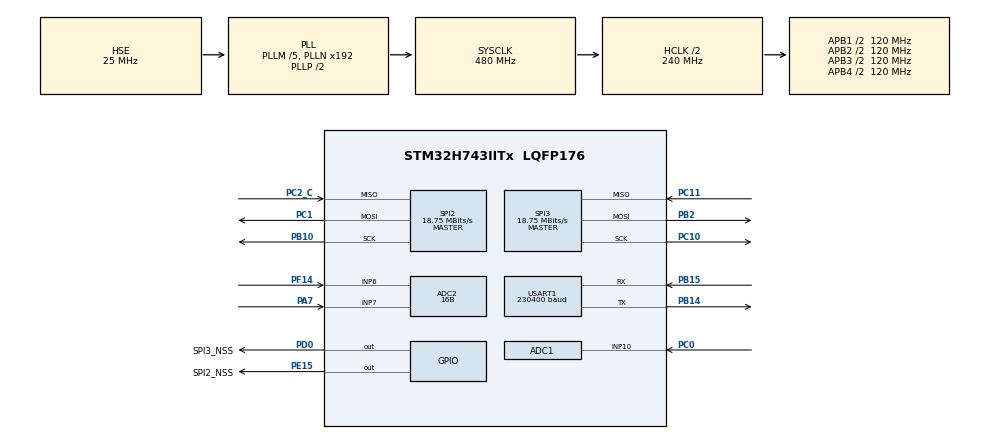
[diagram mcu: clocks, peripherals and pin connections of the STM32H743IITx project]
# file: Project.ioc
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ADC1.Channel-0\#ChannelRegularConversion=ADC_CHANNEL_10
ADC1.ClockPrescaler=ADC_CLOCK_ASYNC_DIV2
ADC1.ConversionDataManagement=ADC_CONVERSIONDATA_DMA_ONESHOT
ADC1.ExternalTrigConv=ADC_EXTERNALTRIG_T3_TRGO
ADC1.LowPowerAutoWait=DISABLE
ADC1.Mode=ADC_MODE_INDEPENDENT
ADC1.NbrOfConversion=1
ADC1.NbrOfConversionFlag=1
ADC1.OffsetNumber-0\#ChannelRegularConversion=ADC_OFFSET_NONE
ADC1.OffsetSignedSaturation-0\#ChannelRegularConversion=DISABLE
ADC1.Overrun=ADC_OVR_DATA_OVERWRITTEN
ADC1.OversamplingMode=DISABLE
ADC1.Rank-0\#ChannelRegularConversion=1
ADC1.SamplingTime-0\#ChannelRegularConversion=ADC_SAMPLETIME_8CYCLES_5
ADC1.master=1
ADC2.Channel-4\#ChannelRegularConversion=ADC_CHANNEL_6
ADC2.Channel-6\#ChannelRegularConversion=ADC_CHANNEL_7
ADC2.ClockPrescaler=ADC_CLOCK_ASYNC_DIV2
ADC2.ConversionDataManagement=ADC_CONVERSIONDATA_DMA_ONESHOT
ADC2.EOCSelection=ADC_EOC_SEQ_CONV
ADC2.ExternalTrigConv=ADC_EXTERNALTRIG_T4_TRGO
ADC2.NbrOfConversion=2
ADC2.NbrOfConversionFlag=1
ADC2.OffsetNumber-4\#ChannelRegularConversion=ADC_OFFSET_NONE
ADC2.OffsetNumber-6\#ChannelRegularConversion=ADC_OFFSET_NONE
ADC2.OffsetSignedSaturation-4\#ChannelRegularConversion=DISABLE
ADC2.OffsetSignedSaturation-6\#ChannelRegularConversion=DISABLE
ADC2.Overrun=ADC_OVR_DATA_OVERWRITTEN
ADC2.Rank-4\#ChannelRegularConversion=1
ADC2.Rank-6\#ChannelRegularConversion=2
ADC2.Resolution=ADC_RESOLUTION_16B
ADC2.SamplingTime-4\#ChannelRegularConversion=ADC_SAMPLETIME_1CYCLE_5
ADC2.SamplingTime-6\#ChannelRegularConversion=ADC_SAMPLETIME_1CYCLE_5
CORTEX_M7.default_mode_Activation=1
Dma.ADC1.0.Direction=DMA_PERIPH_TO_MEMORY
Dma.ADC1.0.EventEnable=DISABLE
Dma.ADC1.0.FIFOMode=DMA_FIFOMODE_DISABLE
Dma.ADC1.0.Instance=DMA1_Stream0
Dma.ADC1.0.MemDataAlignment=DMA_MDATAALIGN_HALFWORD
Dma.ADC1.0.MemInc=DMA_MINC_ENABLE
Dma.ADC1.0.Mode=DMA_NORMAL
Dma.ADC1.0.PeriphDataAlignment=DMA_PDATAALIGN_HALFWORD
Dma.ADC1.0.PeriphInc=DMA_PINC_DISABLE
Dma.ADC1.0.Polarity=HAL_DMAMUX_REQ_GEN_RISING
Dma.ADC1.0.Priority=DMA_PRIORITY_HIGH
Dma.ADC1.0.RequestNumber=1
Dma.ADC1.0.SignalID=NONE
Dma.ADC1.0.SyncEnable=DISABLE
Dma.ADC1.0.SyncPolarity=HAL_DMAMUX_SYNC_NO_EVENT
Dma.ADC1.0.SyncRequestNumber=1
Dma.ADC1.0.SyncSignalID=NONE
Dma.ADC2.2.Direction=DMA_PERIPH_TO_MEMORY
Dma.ADC2.2.EventEnable=DISABLE
Dma.ADC2.2.FIFOMode=DMA_FIFOMODE_DISABLE
Dma.ADC2.2.Instance=DMA1_Stream1
Dma.ADC2.2.MemDataAlignment=DMA_MDATAALIGN_HALFWORD
Dma.ADC2.2.MemInc=DMA_MINC_ENABLE
Dma.ADC2.2.Mode=DMA_NORMAL
Dma.ADC2.2.PeriphDataAlignment=DMA_PDATAALIGN_HALFWORD
Dma.ADC2.2.PeriphInc=DMA_PINC_DISABLE
Dma.ADC2.2.Polarity=HAL_DMAMUX_REQ_GEN_RISING
Dma.ADC2.2.Priority=DMA_PRIORITY_MEDIUM
Dma.ADC2.2.RequestNumber=1
Dma.ADC2.2.SignalID=NONE
Dma.ADC2.2.SyncEnable=DISABLE
Dma.ADC2.2.SyncPolarity=HAL_DMAMUX_SYNC_NO_EVENT
Dma.ADC2.2.SyncRequestNumber=1
Dma.ADC2.2.SyncSignalID=NONE
Dma.Request0=ADC1
Dma.Request1=USART1_TX
Dma.Request2=ADC2
Dma.USART1_TX.1.Direction=DMA_MEMORY_TO_PERIPH
Dma.USART1_TX.1.EventEnable=DISABLE
Dma.USART1_TX.1.FIFOMode=DMA_FIFOMODE_DISABLE
Dma.USART1_TX.1.Instance=DMA1_Stream2
Dma.USART1_TX.1.MemDataAlignment=DMA_MDATAALIGN_BYTE
Dma.USART1_TX.1.MemInc=DMA_MINC_ENABLE
Dma.USART1_TX.1.Mode=DMA_NORMAL
Dma.USART1_TX.1.PeriphDataAlignment=DMA_PDATAALIGN_BYTE
Dma.USART1_TX.1.PeriphInc=DMA_PINC_DISABLE
Dma.USART1_TX.1.Polarity=HAL_DMAMUX_REQ_GEN_RISING
Dma.USART1_TX.1.Priority=DMA_PRIORITY_MEDIUM
Dma.USART1_TX.1.RequestNumber=1
Dma.USART1_TX.1.SignalID=NONE
Dma.USART1_TX.1.SyncEnable=DISABLE
Dma.USART1_TX.1.SyncPolarity=HAL_DMAMUX_SYNC_NO_EVENT
Dma.USART1_TX.1.SyncRequestNumber=1
Dma.USART1_TX.1.SyncSignalID=NONE
Mcu.Family=STM32H7
Mcu.Name=STM32H743IITx
Mcu.Package=LQFP176
NVIC.ADC_IRQn=true\:0\:0\:false\:false\:true\:true\:true\:true
NVIC.DMA1_Stream0_IRQn=true\:0\:0\:false\:false\:true\:false\:true\:true
NVIC.DMA1_Stream1_IRQn=true\:0\:0\:false\:false\:true\:false\:true\:true
NVIC.DMA1_Stream2_IRQn=true\:0\:0\:false\:false\:true\:false\:true\:true
NVIC.PriorityGroup=NVIC_PRIORITYGROUP_4
NVIC.TIM3_IRQn=true\:0\:0\:false\:false\:true\:true\:true\:true
NVIC.TIM4_IRQn=true\:0\:0\:false\:false\:true\:true\:true\:true
NVIC.TIM5_IRQn=true\:0\:0\:false\:false\:true\:true\:true\:true
NVIC.USART1_IRQn=true\:0\:0\:false\:false\:true\:true\:true\:true
PA13\ (JTMS/SWDIO).Mode=Serial_Wire
PA13\ (JTMS/SWDIO).Signal=DEBUG_JTMS-SWDIO
PA14\ (JTCK/SWCLK).Mode=Serial_Wire
PA14\ (JTCK/SWCLK).Signal=DEBUG_JTCK-SWCLK
PA7.Signal=ADCx_INP7
PB10.Mode=Full_Duplex_Master
PB10.Signal=SPI2_SCK
PB14.Mode=Asynchronous
PB14.Signal=USART1_TX
PB15.Mode=Asynchronous
PB15.Signal=USART1_RX
PB2.Mode=Full_Duplex_Master
PB2.Signal=SPI3_MOSI
PC0.Signal=ADCx_INP10
PC1.Mode=Full_Duplex_Master
PC1.Signal=SPI2_MOSI
PC10.Mode=Full_Duplex_Master
PC10.Signal=SPI3_SCK
PC11.Mode=Full_Duplex_Master
PC11.Signal=SPI3_MISO
PC2_C.Mode=Full_Duplex_Master
PC2_C.Signal=SPI2_MISO
PD0.GPIO_Label=SPI3_NSS
PD0.Signal=GPIO_Output
PE15.GPIO_Label=SPI2_NSS
PE15.Signal=GPIO_Output
PF14.Mode=IN6-Single-Ended
PF14.Signal=ADC2_INP6
PH0-OSC_IN\ (PH0).Mode=HSE-External-Oscillator
PH0-OSC_IN\ (PH0).Signal=RCC_OSC_IN
PH1-OSC_OUT\ (PH1).Mode=HSE-External-Oscillator
PH1-OSC_OUT\ (PH1).Signal=RCC_OSC_OUT
ProjectManager.HeapSize=0x200
ProjectManager.StackSize=0x400
ProjectManager.TargetToolchain=MDK-ARM V5.32
RCC.ADCFreq_Value=75000000
RCC.APB1Freq_Value=120000000
RCC.APB2Freq_Value=120000000
RCC.APB3Freq_Value=120000000
RCC.APB4Freq_Value=120000000
RCC.CortexFreq_Value=480000000
RCC.D1PPRE=RCC_APB3_DIV2
RCC.D2PPRE1=RCC_APB1_DIV2
RCC.D2PPRE2=RCC_APB2_DIV2
RCC.D3PPRE=RCC_APB4_DIV2
RCC.DIVM1=5
RCC.DIVM2=2
RCC.DIVN1=192
RCC.DIVN2=12
RCC.HCLKFreq_Value=240000000
RCC.HPRE=RCC_HCLK_DIV2
RCC.PLL2FRACN=0
RCC.PLL3FRACN=0
RCC.PLLFRACN=0
RCC.PLLSourceVirtual=RCC_PLLSOURCE_HSE
RCC.SPI123CLockSelection=RCC_SPI123CLKSOURCE_PLL2
RCC.SYSCLKFreq_VALUE=480000000
RCC.SYSCLKSource=RCC_SYSCLKSOURCE_PLLCLK
RCC.USBFreq_Value=480000000
SH.ADCx_INP10.0=ADC1_INP10,IN10-Single-Ended
SH.ADCx_INP7.0=ADC2_INP7,IN7-Single-Ended
SPI2.BaudRatePrescaler=SPI_BAUDRATEPRESCALER_4
SPI2.CLKPolarity=SPI_POLARITY_HIGH
SPI2.CalculateBaudRate=18.75 MBits/s
SPI2.DataSize=SPI_DATASIZE_8BIT
SPI2.Direction=SPI_DIRECTION_2LINES
SPI2.Mode=SPI_MODE_MASTER
SPI2.VirtualType=VM_MASTER
SPI3.BaudRatePrescaler=SPI_BAUDRATEPRESCALER_4
SPI3.CLKPolarity=SPI_POLARITY_HIGH
SPI3.CalculateBaudRate=18.75 MBits/s
SPI3.DataSize=SPI_DATASIZE_8BIT
SPI3.Direction=SPI_DIRECTION_2LINES
SPI3.Mode=SPI_MODE_MASTER
SPI3.VirtualType=VM_MASTER
STMicroelectronics.X-CUBE-ALGOBUILD.1.4.0.LibraryCcDSPOoLibraryJjDSPOoLibrary=true
TIM3.AutoReloadPreload=TIM_AUTORELOAD_PRELOAD_ENABLE
TIM3.Period=234-1
TIM3.TIM_MasterOutputTrigger=TIM_TRGO_UPDATE
TIM4.AutoReloadPreload=TIM_AUTORELOAD_PRELOAD_ENABLE
TIM4.Period=468-1
TIM4.TIM_MasterOutputTrigger=TIM_TRGO_UPDATE
TIM5.AutoReloadPreload=TIM_AUTORELOAD_PRELOAD_ENABLE
TIM5.Period=10000-1
TIM5.Prescaler=120-1
USART1.BaudRate=230400
USART1.VirtualMode-Asynchronous=VM_ASYNC
VP_MEMORYMAP_VS_MEMORYMAP.Mode=CurAppReg
VP_STMicroelectronics.X-CUBE-ALGOBUILD_VS_DSPOoLibraryJjLibrary_1.4.0_1.4.0.Mode=DSPOoLibraryJjLibrary
VP_TIM3_VS_ClockSourceINT.Mode=Internal
VP_TIM4_VS_ClockSourceINT.Mode=Internal
VP_TIM5_VS_ClockSourceINT.Mode=Internal
board=custom

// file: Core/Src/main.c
/* USER CODE BEGIN Header */
/**
  ******************************************************************************
  * @file           : main.c
  * @brief          : Main program body
  ******************************************************************************
  * @attention
  *
  * Copyright (c) 2026 STMicroelectronics.
  * All rights reserved.
  *
  * This software is licensed under terms that can be found in the LICENSE file
  * in the root directory of this software component.
  * If no LICENSE file comes with this software, it is provided AS-IS.
  *
  ******************************************************************************
  */
/* USER CODE END Header */
#include "main.h"
#include "adc.h"
#include "dma.h"
#include "spi.h"
#include "tim.h"
#include "usart.h"
#include "gpio.h"

/* USER CODE BEGIN Includes */
#include "stdio.h"
#include "arm_math.h"
#include "math.h"
#include "AD9833.h"
#include "My_Math.h"
#include "PID.h"

/* USER CODE END Includes */

/* USER CODE BEGIN PD */
#define	Sample_Size	1024
/* USER CODE END PD */

/* USER CODE BEGIN PM */
arm_cfft_instance_f32 cfft_handler;
arm_cfft_instance_f32 cfft_handler_512;

/* USER CODE END PM */

/* USER CODE BEGIN PV */
volatile uint8_t adc_done = 0;	//ADC转换完成标志位
volatile uint8_t adc3_done = 0;

uint16_t Count;		//测试变量
uint8_t Error;

/*
	各频率分量结构体
*/
SignalPara_t FirstSignal = {0};		//最大频率信号结构体
SignalPara_t First3rdSiganl = {0};	//最大频率3次谐波结构体
SignalPara_t First5thSiganl = {0};	////最大频率5次谐波结构体
SignalRatio_t FirstRatio = {0};

SignalPara_t SecondSignal = {0};		//次最大频率信号对应结构体
SignalPara_t Second3rdSiganl = {0};	////次最大频率3次谐波结构体
SignalPara_t Second5thSiganl = {0};	////次最大频率5次谐波结构体
SignalRatio_t SecondRatio = {0};

SignalPara_t Feedback_First = {0};
SignalPara_t Feedback_Second = {0};

float Phase_Diff = 0.0f;

PID_t Phase_PID = {
	.Kp = 0.004,
	.Ki = 0,
	.Kd = 0,

	.OutMax = 50,
	.OutMin = -50,
};

uint16_t FFT_Buff[Sample_Size] = {0};		//ADC采样原始数据
float FFT_IN[Sample_Size * 2] = {0};
float FFT_Complex[Sample_Size * 2] = {0};	//备份FFT后的复数数组，用于计算相位
float FFT_OUT[Sample_Size / 2] = {0};

uint16_t FeedbackBuff_First[Sample_Size] = {0};
uint16_t FeedbackBuff_Second[Sample_Size] = {0};

uint16_t Feedback_MixBuff[Sample_Size] = {0};
float Feedback_FFTINFirst[Sample_Size] = {0};
float Feedback_FFTOUTFirst[Sample_Size / 4] = {0};
float Feedback_FFTINSecond[Sample_Size] = {0};
float Feedback_FFTOUTSecond[Sample_Size / 4] = {0};

float LastRatio_First3rdval = 0.0f;
float LastRatio_First5thval = 0.0f;
float LastRatio_Second3rdval = 0.0f;
float LastRatio_Second5thval = 0.0f;

float PhaseDiff = 0.0f;

float Beta = 0.99f;

float last_valphase =0.0f;
/* USER CODE END PV */

void SystemClock_Config(void);
void PeriphCommonClock_Config(void);
static void MPU_Config(void);

int main(void)
{

  /* MPU Configuration--------------------------------------------------------*/
  MPU_Config();

  /* MCU Configuration--------------------------------------------------------*/

  /* Reset of all peripherals, Initializes the Flash interface and the Systick. */
  HAL_Init();

  /* Configure the system clock */
  SystemClock_Config();

  /* Configure the peripherals common clocks */
  PeriphCommonClock_Config();

  /* Initialize all configured peripherals */
  MX_GPIO_Init();
  MX_DMA_Init();
  MX_ADC1_Init();
  MX_TIM3_Init();
  MX_USART1_UART_Init();
  MX_SPI2_Init();
  MX_TIM4_Init();
  MX_SPI3_Init();
  MX_ADC2_Init();
  MX_TIM5_Init();
  /* USER CODE BEGIN 2 */
  arm_cfft_init_f32(&cfft_handler, Sample_Size);
  arm_cfft_init_f32(&cfft_handler_512, Sample_Size / 2);

  AD98331_Init();
  AD98332_Init();

  PID_Init(&Phase_PID);

  /* USER CODE END 2 */

  /* Infinite loop */
  /* USER CODE BEGIN WHILE */
  HAL_TIM_Base_Start(&htim3);
  HAL_ADC_Start_DMA(&hadc1, (uint32_t *)FFT_Buff, Sample_Size);
//  HAL_TIM_Base_Start(&htim4);
//  HAL_ADC_Start_DMA(&hadc2, (uint32_t *)Feedback_MixBuff, Sample_Size);

//  AD98331_SetFrequencyQuick(1000, Sine);
//  AD98332_SetFrequencyQuick(10000, Sine);

  while (1)
  {

	  if (adc_done == 1)
	  {
		  HAL_TIM_Base_Stop(&htim3);
		  HAL_ADC_Stop_DMA(&hadc1);
		  adc_done = 0;

		  Math_FFT(FFT_Buff, FFT_IN, FFT_OUT, FFT_Complex, Sample_Size);

		  Math_FindMaxAndSecondMaxFreqAndAmp(FFT_OUT, &FirstSignal, &SecondSignal, Sample_Size);

		  First3rdSiganl = Math_Get3rdHarmonicPara(FFT_OUT, &FirstSignal, Sample_Size);
		  First5thSiganl = Math_Get5thHarmonicPara(FFT_OUT, &FirstSignal, Sample_Size);
		  Second3rdSiganl = Math_Get3rdHarmonicPara(FFT_OUT, &SecondSignal, Sample_Size);
		  Second5thSiganl = Math_Get5thHarmonicPara(FFT_OUT, &SecondSignal, Sample_Size);

		  FirstRatio = Math_CaculateRatio(&FirstSignal, &First3rdSiganl, &First5thSiganl);
		  SecondRatio = Math_CaculateRatio(&SecondSignal, &Second3rdSiganl, &Second5thSiganl);

		  FirstRatio.Ratio3rd = Math_LowPassFilter(LastRatio_First3rdval, FirstRatio.Ratio3rd);
		  FirstRatio.Ratio5th = Math_LowPassFilter(LastRatio_First5thval, FirstRatio.Ratio5th);
		  SecondRatio.Ratio3rd = Math_LowPassFilter(LastRatio_Second3rdval, SecondRatio.Ratio3rd);
		  SecondRatio.Ratio5th = Math_LowPassFilter(LastRatio_Second5thval, SecondRatio.Ratio5th);

		  LastRatio_First3rdval= FirstRatio.Ratio3rd;
		  LastRatio_First5thval = FirstRatio.Ratio5th;
		  LastRatio_Second3rdval = SecondRatio.Ratio3rd;
		  LastRatio_Second5thval = SecondRatio.Ratio5th;

		  SecondSignal.WaveType = Math_WaveformJudegeSecond(&FirstSignal, &FirstRatio, &SecondSignal, &SecondRatio);
		  FirstSignal.WaveType = Math_Math_WaveformJudegeFirst(&FirstRatio);

		  AD98331_SetFrequencyQuick(FirstSignal.Freq, FirstSignal.WaveType);
		  AD98332_SetFrequencyQuick(SecondSignal.Freq, SecondSignal.WaveType);

//		  HAL_TIM_Base_Start(&htim3);
//		  HAL_ADC_Start_DMA(&hadc1, (uint32_t *)FFT_Buff, Sample_Size);
		  HAL_TIM_Base_Start(&htim4);
		  HAL_ADC_Start_DMA(&hadc2, (uint32_t *)Feedback_MixBuff, Sample_Size);

	  }
	  if (adc3_done == 1)
	  {
		  adc3_done = 0;
		  HAL_TIM_Base_Stop(&htim4);
		  HAL_ADC_Stop_DMA(&hadc2);

		  Math_Feedback_SeparateChannel(Feedback_MixBuff,
		  							  Feedback_FFTINFirst,
		  							  Feedback_FFTINSecond,
		  							  Sample_Size);

		  Math_Feedback_FFTAndExtractPhase(&Feedback_First,
		  								 Feedback_FFTINFirst,
		  								 Feedback_FFTOUTFirst,
		  								 Sample_Size);

		  Math_Feedback_FFTAndExtractPhase(&Feedback_Second,
		  								 Feedback_FFTINSecond,
		  								 Feedback_FFTOUTSecond,
		  								 Sample_Size);

		  Phase_Diff = Feedback_First.Phase - Feedback_Second.Phase;

		  if (Phase_Diff >  180.0f) Phase_Diff -= 360.0f;
		  if (Phase_Diff < -180.0f) Phase_Diff += 360.0f;

		  Phase_PID.Actual = Phase_Diff;
		  PID_Update(&Phase_PID);
		  AD98331_SetFrequencyQuick(FirstSignal.Freq - Phase_PID.Out, FirstSignal.WaveType);

		  HAL_TIM_Base_Start(&htim4);
		  HAL_ADC_Start_DMA(&hadc2, (uint32_t *)Feedback_MixBuff, Sample_Size);
	  }

    /* USER CODE END WHILE */

  }
}

void SystemClock_Config(void)
{
  RCC_OscInitTypeDef RCC_OscInitStruct = {0};
  RCC_ClkInitTypeDef RCC_ClkInitStruct = {0};

  /** Supply configuration update enable
  */
  HAL_PWREx_ConfigSupply(PWR_LDO_SUPPLY);

  /** Configure the main internal regulator output voltage
  */
  __HAL_PWR_VOLTAGESCALING_CONFIG(PWR_REGULATOR_VOLTAGE_SCALE0);

  while(!__HAL_PWR_GET_FLAG(PWR_FLAG_VOSRDY)) {}

  /** Initializes the RCC Oscillators according to the specified parameters
  * in the RCC_OscInitTypeDef structure.
  */
  RCC_OscInitStruct.OscillatorType = RCC_OSCILLATORTYPE_HSE;
  RCC_OscInitStruct.HSEState = RCC_HSE_ON;
  RCC_OscInitStruct.PLL.PLLState = RCC_PLL_ON;
  RCC_OscInitStruct.PLL.PLLSource = RCC_PLLSOURCE_HSE;
  RCC_OscInitStruct.PLL.PLLM = 5;
  RCC_OscInitStruct.PLL.PLLN = 192;
  RCC_OscInitStruct.PLL.PLLP = 2;
  RCC_OscInitStruct.PLL.PLLQ = 2;
  RCC_OscInitStruct.PLL.PLLR = 2;
  RCC_OscInitStruct.PLL.PLLRGE = RCC_PLL1VCIRANGE_2;
  RCC_OscInitStruct.PLL.PLLVCOSEL = RCC_PLL1VCOWIDE;
  RCC_OscInitStruct.PLL.PLLFRACN = 0;
  if (HAL_RCC_OscConfig(&RCC_OscInitStruct) != HAL_OK)
  {
    Error_Handler();
  }

  /** Initializes the CPU, AHB and APB buses clocks
  */
  RCC_ClkInitStruct.ClockType = RCC_CLOCKTYPE_HCLK|RCC_CLOCKTYPE_SYSCLK
                              |RCC_CLOCKTYPE_PCLK1|RCC_CLOCKTYPE_PCLK2
                              |RCC_CLOCKTYPE_D3PCLK1|RCC_CLOCKTYPE_D1PCLK1;
  RCC_ClkInitStruct.SYSCLKSource = RCC_SYSCLKSOURCE_PLLCLK;
  RCC_ClkInitStruct.SYSCLKDivider = RCC_SYSCLK_DIV1;
  RCC_ClkInitStruct.AHBCLKDivider = RCC_HCLK_DIV2;
  RCC_ClkInitStruct.APB3CLKDivider = RCC_APB3_DIV2;
  RCC_ClkInitStruct.APB1CLKDivider = RCC_APB1_DIV2;
  RCC_ClkInitStruct.APB2CLKDivider = RCC_APB2_DIV2;
  RCC_ClkInitStruct.APB4CLKDivider = RCC_APB4_DIV2;

  if (HAL_RCC_ClockConfig(&RCC_ClkInitStruct, FLASH_LATENCY_4) != HAL_OK)
  {
    Error_Handler();
  }
}

void PeriphCommonClock_Config(void)
{
  RCC_PeriphCLKInitTypeDef PeriphClkInitStruct = {0};

  /** Initializes the peripherals clock
  */
  PeriphClkInitStruct.PeriphClockSelection = RCC_PERIPHCLK_ADC|RCC_PERIPHCLK_SPI3
                              |RCC_PERIPHCLK_SPI2;
  PeriphClkInitStruct.PLL2.PLL2M = 2;
  PeriphClkInitStruct.PLL2.PLL2N = 12;
  PeriphClkInitStruct.PLL2.PLL2P = 2;
  PeriphClkInitStruct.PLL2.PLL2Q = 2;
  PeriphClkInitStruct.PLL2.PLL2R = 2;
  PeriphClkInitStruct.PLL2.PLL2RGE = RCC_PLL2VCIRANGE_3;
  PeriphClkInitStruct.PLL2.PLL2VCOSEL = RCC_PLL2VCOMEDIUM;
  PeriphClkInitStruct.PLL2.PLL2FRACN = 0;
  PeriphClkInitStruct.Spi123ClockSelection = RCC_SPI123CLKSOURCE_PLL2;
  PeriphClkInitStruct.AdcClockSelection = RCC_ADCCLKSOURCE_PLL2;
  if (HAL_RCCEx_PeriphCLKConfig(&PeriphClkInitStruct) != HAL_OK)
  {
    Error_Handler();
  }
}

/* USER CODE BEGIN 4 */
void HAL_TIM_PeriodElapsedCallback(TIM_HandleTypeDef *htim)
{
	if (htim == &htim3){

	}
	if (htim == &htim5){

	}
}

void HAL_ADC_ConvCpltCallback(ADC_HandleTypeDef* hadc)
{
	if (hadc == &hadc1){
		adc_done ++;
	}
	if (hadc == &hadc2){
		adc3_done = 1;
	}
}

int fputc(int ch, FILE *f)
{
    HAL_UART_Transmit(&huart1, (uint8_t *)&ch, 1, 100);
    return ch;
}
/* USER CODE END 4 */

 /* MPU Configuration */

void MPU_Config(void)
{
  MPU_Region_InitTypeDef MPU_InitStruct = {0};

  /* Disables the MPU */
  HAL_MPU_Disable();

  /** Initializes and configures the Region and the memory to be protected
  */
  MPU_InitStruct.Enable = MPU_REGION_ENABLE;
  MPU_InitStruct.Number = MPU_REGION_NUMBER0;
  MPU_InitStruct.BaseAddress = 0x0;
  MPU_InitStruct.Size = MPU_REGION_SIZE_4GB;
  MPU_InitStruct.SubRegionDisable = 0x87;
  MPU_InitStruct.TypeExtField = MPU_TEX_LEVEL0;
  MPU_InitStruct.AccessPermission = MPU_REGION_NO_ACCESS;
  MPU_InitStruct.DisableExec = MPU_INSTRUCTION_ACCESS_DISABLE;
  MPU_InitStruct.IsShareable = MPU_ACCESS_SHAREABLE;
  MPU_InitStruct.IsCacheable = MPU_ACCESS_NOT_CACHEABLE;
  MPU_InitStruct.IsBufferable = MPU_ACCESS_NOT_BUFFERABLE;

  HAL_MPU_ConfigRegion(&MPU_InitStruct);
  /* Enables the MPU */
  HAL_MPU_Enable(MPU_PRIVILEGED_DEFAULT);

}

void Error_Handler(void)
{
  __disable_irq();
  while (1)
  {
  }
}
